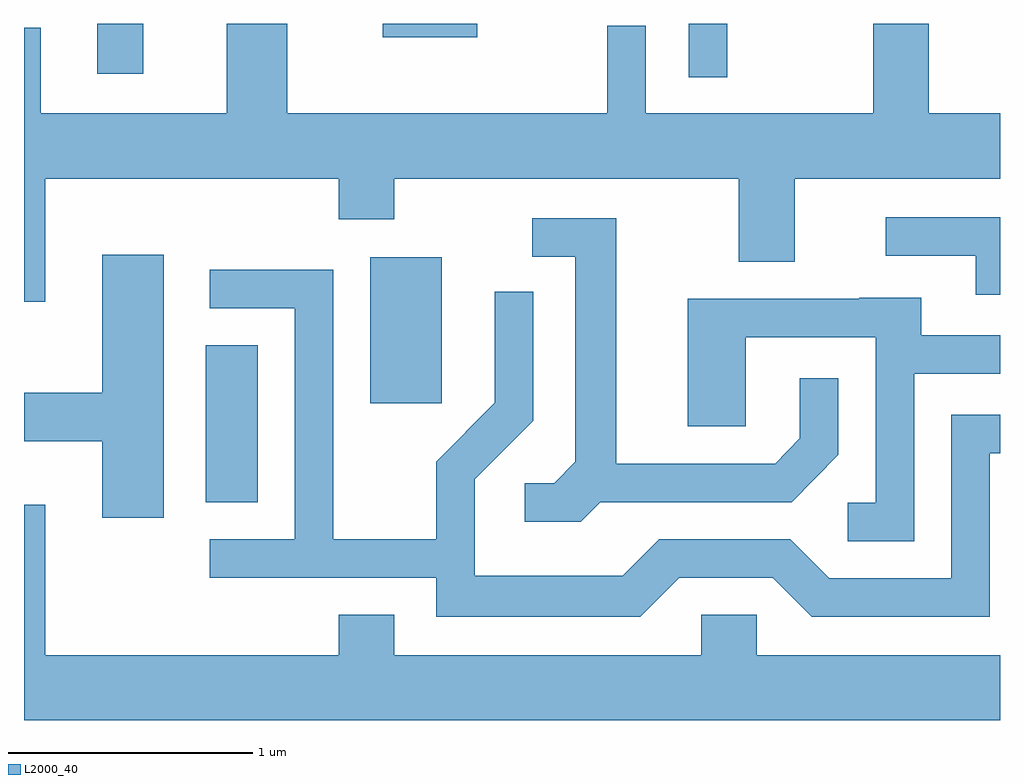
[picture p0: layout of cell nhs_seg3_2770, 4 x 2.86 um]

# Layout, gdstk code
import gdstk
lib = gdstk.Library(unit=1e-6, precision=1e-09)
def R(c, l, rs):  # rectangles x0, y0, x1, y1
    for r in rs: c.add(gdstk.rectangle(r[:2], r[2:], *l))
def P(c, l, *ps):  # polygons
    for p in ps: c.add(gdstk.Polygon(p, *l))
L2000_40 = (2000, 40)

nhs_seg3_2770 = lib.new_cell('nhs_seg3_2770')
R(nhs_seg3_2770, L2000_40, [(266.356,1217.931,266.569,1218.574), (267.031,1218.336,267.324,1218.934), (268.336,1219.673,268.494,1219.892), (265.911,1219.686,266.099,1219.892), (267.081,1219.836,267.468,1219.892)])
P(nhs_seg3_2770, L2000_40, [(265.699,1219.256),(266.901,1219.256),(266.901,1219.091),(267.129,1219.091),(267.129,1219.256),(268.541,1219.256),(268.541,1218.916),(268.769,1218.916),(268.769,1219.256),(269.611,1219.256),(269.611,1219.524),(269.319,1219.524),(269.319,1219.892),(269.091,1219.892),(269.091,1219.524),(268.159,1219.524),(268.159,1219.883),(268.001,1219.883),(268.001,1219.524),(266.689,1219.524),(266.689,1219.892),(266.441,1219.892),(266.441,1219.524),(265.679,1219.524),(265.679,1219.874),(265.611,1219.874),(265.611,1218.751),(265.699,1218.751)],
  [(269.611,1219.099),(269.143,1219.099),(269.143,1218.941),(269.511,1218.941),(269.511,1218.781),(269.611,1218.781)],
  [(267.972,1217.931),(268.757,1217.931),(268.949,1218.124),(268.949,1218.438),(268.791,1218.438),(268.791,1218.192),(268.689,1218.089),(268.039,1218.089),(268.039,1219.094),(267.693,1219.094),(267.693,1218.936),(267.871,1218.936),(267.871,1218.097),(267.784,1218.009),(267.663,1218.009),(267.663,1217.851),(267.892,1217.851)],
  [(266.184,1218.944),(265.931,1218.944),(265.931,1218.379),(265.611,1218.379),(265.611,1218.181),(265.931,1218.181),(265.931,1217.866),(266.184,1217.866)],
  [(268.297,1217.621),(268.679,1217.621),(268.839,1217.461),(269.569,1217.461),(269.569,1218.131),(269.611,1218.131),(269.611,1218.289),(269.411,1218.289),(269.411,1217.619),(268.912,1217.619),(268.752,1217.779),(268.214,1217.779),(268.064,1217.629),(267.459,1217.629),(267.459,1218.024),(267.699,1218.264),(267.699,1218.793),(267.541,1218.793),(267.541,1218.337),(267.301,1218.097),(267.301,1217.779),(266.879,1217.779),(266.879,1218.884),(266.373,1218.884),(266.373,1218.726),(266.721,1218.726),(266.721,1217.779),(266.373,1217.779),(266.373,1217.621),(267.301,1217.621),(267.301,1217.461),(268.137,1217.461)],
  [(269.259,1218.456),(269.611,1218.456),(269.611,1218.614),(269.289,1218.614),(269.289,1218.769),(269.035,1218.769),(269.035,1218.764),(268.331,1218.764),(268.331,1218.241),(268.569,1218.241),(268.569,1218.606),(269.101,1218.606),(269.101,1217.929),(268.988,1217.929),(268.988,1217.771),(269.259,1217.771)],
  [(269.611,1217.304),(268.614,1217.304),(268.614,1217.469),(268.386,1217.469),(268.386,1217.304),(267.129,1217.304),(267.129,1217.469),(266.901,1217.469),(266.901,1217.304),(265.699,1217.304),(265.699,1217.919),(265.611,1217.919),(265.611,1217.036),(269.611,1217.036)])

lib.write_gds('nhs_seg3_2770.gds')
